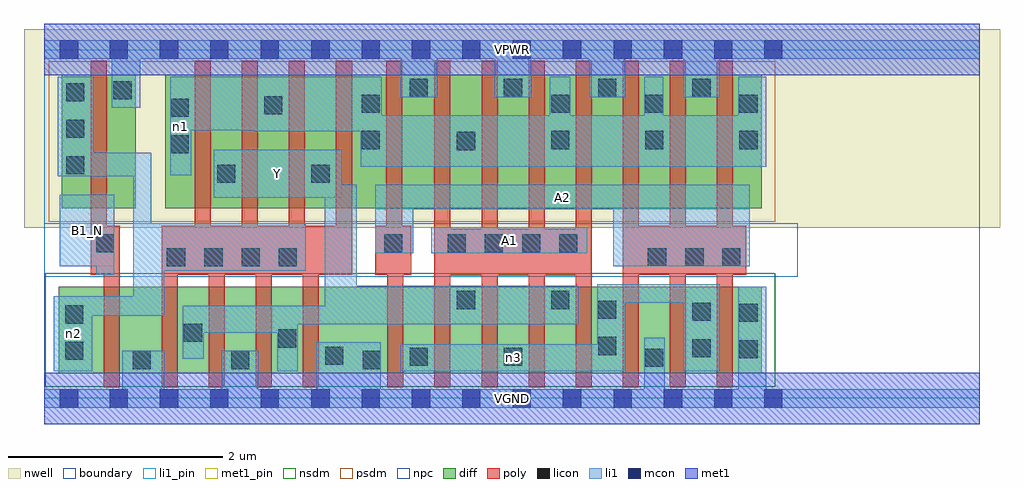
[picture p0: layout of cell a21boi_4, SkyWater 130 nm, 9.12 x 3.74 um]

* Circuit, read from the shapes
.subckt a21boi_4 A1 A2 B1_N VGND VPWR Y n1 n2 n3
XM1 VGND B1_N n2 VSUBS sky130_fd_pr__nfet_01v8 w=0.81 l=0.15
XM2 Y n2 VGND VSUBS sky130_fd_pr__nfet_01v8 w=0.81 l=0.15 m=4
XM3 n3 A2 VGND VSUBS sky130_fd_pr__nfet_01v8 w=0.81 l=0.15 m=4
XM4 Y A1 n3 VSUBS sky130_fd_pr__nfet_01v8 w=0.81 l=0.15 m=4
XM5 VPWR B1_N n2 n4 sky130_fd_pr__pfet_01v8 w=1.25 l=0.15
XM6 Y n2 n1 n4 sky130_fd_pr__pfet_01v8 w=1.25 l=0.15 m=4
XM7 VPWR A2 n1 n4 sky130_fd_pr__pfet_01v8 w=1.25 l=0.15 m=4
XM8 n1 A1 VPWR n4 sky130_fd_pr__pfet_01v8 w=1.25 l=0.15 m=4
.ends

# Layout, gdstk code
import gdstk
lib = gdstk.Library(unit=1e-6, precision=1e-09)
def R(c, l, rs):  # rectangles x0, y0, x1, y1
    for r in rs: c.add(gdstk.rectangle(r[:2], r[2:], *l))
def A(c, l, x, y, w, h, nx, ny, dx, dy):  # array of equal rectangles
    R(c, l, [(x+i*dx, y+j*dy, x+i*dx+w, y+j*dy+h) for i in range(nx) for j in range(ny)])
nwell = (64, 20)
diff = (65, 20)
poly = (66, 20)
licon = (66, 44)
li1_pin = (67, 16)
li1 = (67, 20)
mcon = (67, 44)
met1_pin = (68, 16)
met1 = (68, 20)
nsdm = (93, 44)
psdm = (94, 20)
npc = (95, 20)
boundary = (235, 4)

a21boi_4 = lib.new_cell('a21boi_4')
R(a21boi_4, nwell, [(-0.19,1.595,8.93,3.45), (0,1.595,8.74,3.45)])
R(a21boi_4, diff, [(0.135,0.235,6.705,1.045), (0.165,1.775,0.855,3.025), (1.13,1.775,6.705,3.025)])
A(a21boi_4, poly, 1.095, 0.105, 0.15, 1.51, 4, 1, 0.44, 0)
A(a21boi_4, poly, 3.645, 0.105, 0.15, 3.05, 7, 1, 0.44, 0)
A(a21boi_4, poly, 1.405, 1.155, 0.15, 2, 4, 1, 0.44, 0)
R(a21boi_4, poly, [(0.555,0.105,0.705,1.615), (3.205,0.105,3.355,1.615), (3.645,1.15,5.115,1.585), (0.435,1.155,0.585,3.155), (1.095,1.155,2.875,1.615), (3.09,1.155,3.43,1.615), (3.195,1.155,3.345,3.155), (5.405,1.155,6.56,1.615)])
A(a21boi_4, licon, 1.145, 1.235, 0.17, 0.17, 3, 1, 0.35, 0)
A(a21boi_4, licon, 0.205, 2.095, 0.17, 0.17, 1, 3, 0, 0.34)
A(a21boi_4, licon, 4.735, 2.33, 0.17, 0.17, 3, 2, 0.88, 0.34)
A(a21boi_4, licon, 3.415, 2.815, 0.17, 0.17, 4, 1, 0.88, 0)
R(a21boi_4, licon, [(0.825,0.275,0.995,0.445), (1.745,0.275,1.915,0.445), (2.975,0.275,3.145,0.445), (5.615,0.295,5.785,0.465), (3.415,0.305,3.585,0.475), (4.295,0.305,4.465,0.475), (2.625,0.315,2.795,0.485), (0.195,0.36,0.365,0.53), (6.495,0.375,6.665,0.545), (6.055,0.385,6.225,0.555), (5.175,0.405,5.345,0.575), (2.185,0.475,2.355,0.645), (1.305,0.53,1.475,0.7), (0.195,0.7,0.365,0.87), (6.495,0.715,6.665,0.885), (6.055,0.725,6.225,0.895), (5.175,0.745,5.345,0.915), (3.855,0.835,4.025,1.005), (4.735,0.835,4.905,1.005), (2.19,1.235,2.36,1.405), (5.64,1.235,5.81,1.405), (5.99,1.235,6.16,1.405), (6.335,1.235,6.505,1.405), (0.485,1.365,0.655,1.535), (3.175,1.365,3.345,1.535), (3.77,1.365,3.94,1.535), (4.115,1.365,4.285,1.535), (4.465,1.365,4.635,1.535), (4.81,1.365,4.98,1.535), (1.615,2.015,1.785,2.185), (2.495,2.015,2.665,2.185), (1.18,2.29,1.35,2.46), (3.855,2.32,4.025,2.49), (2.965,2.33,3.135,2.5), (1.18,2.63,1.35,2.8), (2.055,2.655,2.225,2.825), (2.965,2.67,3.135,2.84), (0.645,2.795,0.815,2.965)])
R(a21boi_4, li1_pin, [(0.145,1.235,0.655,1.905), (3.615,1.355,5.075,1.6), (3.09,1.77,6.59,1.995), (1.585,1.875,2.78,2.325)])
A(a21boi_4, li1, 3.33, 2.815, 0.34, 0.53, 4, 1, 0.88, 0)
R(a21boi_4, li1, [(0,-0.085,8.74,0.085), (0.73,-0.085,1.12,0.445), (1.66,-0.085,2,0.445), (2.54,-0.085,3.145,0.525), (5.605,-0.085,5.795,0.565), (6.485,-0.085,6.745,1.045), (0.09,0.255,0.45,0.955), (2.175,0.255,2.37,0.865), (3.33,0.255,5.43,0.505), (5.165,0.255,5.43,1.065), (5.97,0.255,6.31,1.065), (1.295,0.37,1.49,0.865), (1.295,0.615,2.37,0.865), (1.295,0.695,4.99,0.865), (2.62,0.695,4.99,1.055), (0.09,0.775,1.12,0.955), (0.83,0.775,1,2.295), (0.83,0.775,1.12,1.635), (3.32,0.835,4.99,1.055), (5.165,0.895,6.31,1.065), (2.62,1.055,2.92,1.995), (0.485,1.155,0.655,1.905), (0.83,1.195,2.445,1.635), (0.145,1.235,0.655,1.905), (5.315,1.235,6.59,1.995), (3.09,1.355,3.445,1.995), (3.615,1.355,5.075,1.6), (3.09,1.77,6.59,1.995), (1.585,1.875,2.78,2.325), (0.125,2.075,0.46,3.005), (0.125,2.075,1,2.295), (1.175,2.085,1.375,3.005), (2.955,2.165,6.745,2.645), (2.955,2.165,3.155,3.005), (4.725,2.165,4.915,3.005), (5.605,2.165,5.785,3.005), (6.485,2.165,6.745,3.005), (1.97,2.495,3.155,3.005), (1.175,2.505,3.155,3.005), (0.63,2.715,0.895,3.345), (0,3.175,8.74,3.345)])
A(a21boi_4, mcon, 0.61, -0.085, 0.17, 0.17, 4, 2, 0.47, 3.26)
A(a21boi_4, mcon, 2.495, -0.085, 0.17, 0.17, 6, 2, 0.47, 3.26)
A(a21boi_4, mcon, 5.32, -0.085, 0.17, 0.17, 3, 2, 0.47, 3.26)
R(a21boi_4, mcon, [(0.145,-0.085,0.315,0.085), (6.725,-0.085,6.895,0.085), (0.145,3.175,0.315,3.345), (6.725,3.175,6.895,3.345)])
R(a21boi_4, met1_pin, [(0,-0.24,8.74,0.24), (0,3.02,8.74,3.5)])
R(a21boi_4, met1, [(0,-0.24,8.74,0.24), (0,3.02,8.74,3.5)])
R(a21boi_4, nsdm, [(0.01,0.11,6.83,1.17)])
R(a21boi_4, psdm, [(0.04,1.65,6.83,3.15)])
R(a21boi_4, npc, [(0,1.135,7.04,1.635)])
R(a21boi_4, boundary, [(0,0,8.74,3.26)])
a21boi_4.add(gdstk.Label('A1', (4.345,1.477), layer=67, texttype=5))
a21boi_4.add(gdstk.Label('A2', (4.84,1.882), layer=67, texttype=5))
a21boi_4.add(gdstk.Label('B1_N', (0.4,1.57), layer=67, texttype=5))
a21boi_4.add(gdstk.Label('Y', (2.182,2.1), layer=67, texttype=5))
a21boi_4.add(gdstk.Label('n3', (4.38,0.38), layer=67, texttype=5))
a21boi_4.add(gdstk.Label('n2', (0.27,0.605), layer=67, texttype=5))
a21boi_4.add(gdstk.Label('n1', (1.275,2.545), layer=67, texttype=5))
a21boi_4.add(gdstk.Label('VPWR', (4.37,3.26), layer=68, texttype=5))
a21boi_4.add(gdstk.Label('VGND', (4.37,0), layer=68, texttype=5))
a21boi_4.add(gdstk.Label('A1', (4.345,1.477), layer=67, texttype=16))
a21boi_4.add(gdstk.Label('A2', (4.84,1.882), layer=67, texttype=16))
a21boi_4.add(gdstk.Label('B1_N', (0.4,1.57), layer=67, texttype=16))
a21boi_4.add(gdstk.Label('Y', (2.182,2.1), layer=67, texttype=16))
a21boi_4.add(gdstk.Label('VPWR', (4.37,3.26), layer=68, texttype=16))
a21boi_4.add(gdstk.Label('VGND', (4.37,0), layer=68, texttype=16))

lib.write_gds('a21boi_4.gds')
